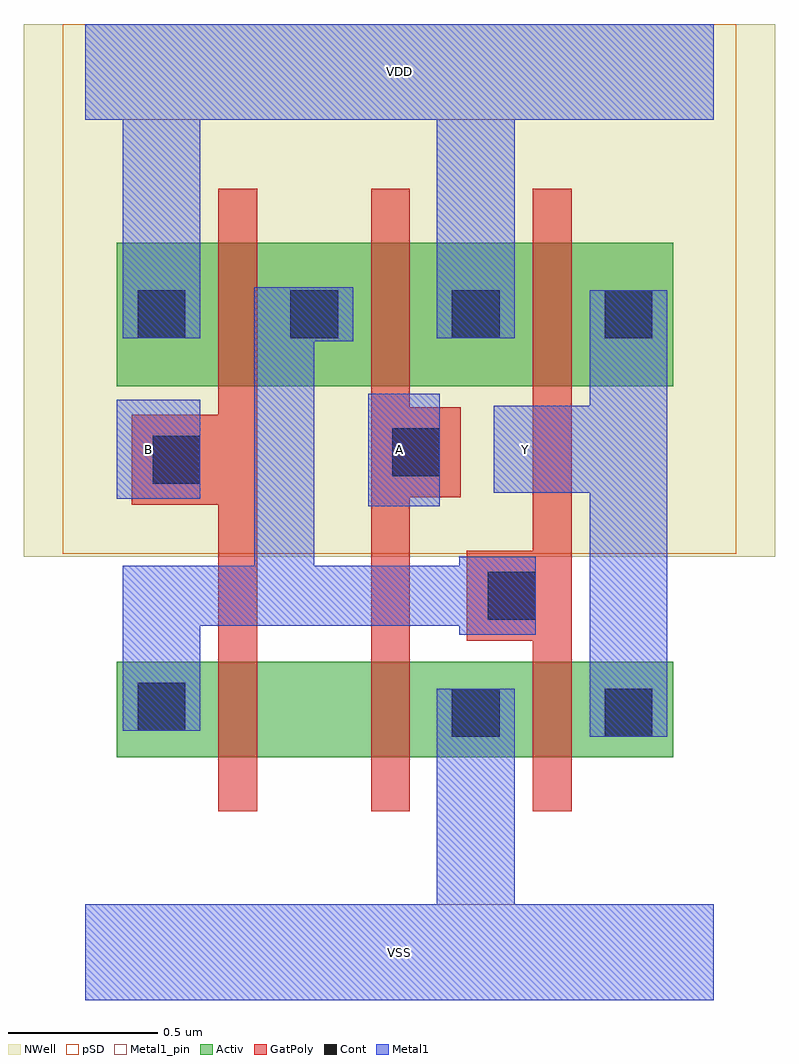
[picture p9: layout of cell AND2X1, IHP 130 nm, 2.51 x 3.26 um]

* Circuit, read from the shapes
.subckt AND2X1 A B VDD VSS Y
XM1 n1 B n2 VSUBS sg13_lv_nmos w=0.32u l=0.13u
XM2 VSS A n1 VSUBS sg13_lv_nmos w=0.32u l=0.13u
XM3 Y n2 VSS VSUBS sg13_lv_nmos w=0.32u l=0.13u
XM4 n2 B VDD n3 sg13_lv_pmos w=0.48u l=0.13u
XM5 VDD A n2 n3 sg13_lv_pmos w=0.48u l=0.13u
XM6 Y n2 VDD n3 sg13_lv_pmos w=0.48u l=0.13u
.ends

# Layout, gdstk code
import gdstk
lib = gdstk.Library(unit=1e-6, precision=1e-09)
def R(c, l, rs):  # rectangles x0, y0, x1, y1
    for r in rs: c.add(gdstk.rectangle(r[:2], r[2:], *l))
def P(c, l, *ps):  # polygons
    for p in ps: c.add(gdstk.Polygon(p, *l))
Activ = (1, 0)
GatPoly = (5, 0)
Cont = (6, 0)
Metal1 = (8, 0)
Metal1_pin = (8, 2)
pSD = (14, 0)
NWell = (31, 0)

and2x1 = lib.new_cell('AND2X1')
R(and2x1, Activ, [(0.105,0.65,1.965,0.97), (0.105,1.89,1.965,2.37)])
P(and2x1, GatPoly, [(1.495,0.47),(1.495,1.04),(1.275,1.04),(1.275,1.34),(1.495,1.34),(1.495,2.55),(1.625,2.55),(1.625,0.47)],
  [(0.955,0.47),(0.955,2.55),(1.085,2.55),(1.085,1.82),(1.255,1.82),(1.255,1.52),(1.085,1.52),(1.085,0.47)],
  [(0.445,0.47),(0.445,1.495),(0.155,1.495),(0.155,1.795),(0.445,1.795),(0.445,2.55),(0.575,2.55),(0.575,0.47)])
R(and2x1, Cont, [(1.225,0.72,1.385,0.88), (1.735,0.72,1.895,0.88), (0.175,0.74,0.335,0.9), (1.345,1.11,1.505,1.27), (0.225,1.565,0.385,1.725), (1.025,1.59,1.185,1.75), (0.175,2.05,0.335,2.21), (0.685,2.05,0.845,2.21), (1.225,2.05,1.385,2.21), (1.735,2.05,1.895,2.21)])
R(and2x1, Metal1, [(0.945,1.49,1.185,1.865), (0.105,1.515,0.385,1.845)])
P(and2x1, Metal1, [(0,-0.16),(0,0.16),(1.175,0.16),(1.175,0.88),(1.435,0.88),(1.435,0.16),(2.1,0.16),(2.1,-0.16)],
  [(0.125,2.05),(0.125,2.78),(0,2.78),(0,3.1),(2.1,3.1),(2.1,2.78),(1.435,2.78),(1.435,2.05),(1.175,2.05),(1.175,2.78),(0.385,2.78),(0.385,2.05)],
  [(1.685,0.72),(1.685,1.535),(1.365,1.535),(1.365,1.825),(1.685,1.825),(1.685,2.21),(1.945,2.21),(1.945,0.72)],
  [(0.125,0.74),(0.125,1.29),(0.565,1.29),(0.565,2.22),(0.895,2.22),(0.895,2.04),(0.765,2.04),(0.765,1.29),(1.25,1.29),(1.25,1.32),(1.505,1.32),(1.505,1.06),(1.25,1.06),(1.25,1.09),(0.385,1.09),(0.385,0.74)])
R(and2x1, Metal1_pin, [(0,-0.16,2.1,0.16), (0.945,1.49,1.185,1.865), (0.105,1.515,0.385,1.845), (0,2.78,2.1,3.1)])
P(and2x1, Metal1_pin, [(1.685,0.72),(1.685,1.535),(1.365,1.535),(1.365,1.825),(1.685,1.825),(1.685,2.21),(1.945,2.21),(1.945,0.72)])
R(and2x1, pSD, [(-0.075,1.33,2.175,3.1)])
R(and2x1, NWell, [(-0.205,1.32,2.305,3.1)])
and2x1.add(gdstk.Label('A', (1.05,1.68), layer=8, texttype=25))
and2x1.add(gdstk.Label('B', (0.21,1.68), layer=8, texttype=25))
and2x1.add(gdstk.Label('Y', (1.47,1.68), layer=8, texttype=25))
and2x1.add(gdstk.Label('VSS', (1.05,0), layer=8, texttype=25))
and2x1.add(gdstk.Label('VDD', (1.05,2.94), layer=8, texttype=25))

lib.write_gds('AND2X1.gds')
